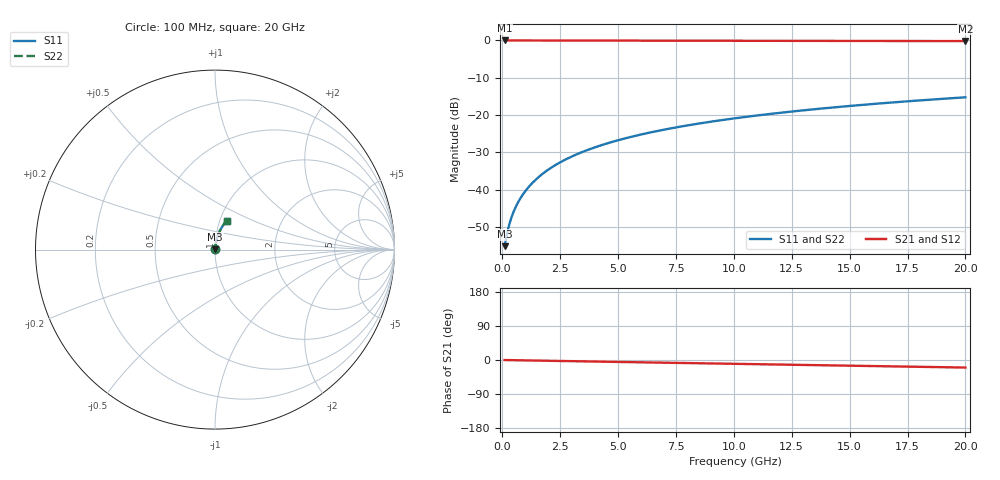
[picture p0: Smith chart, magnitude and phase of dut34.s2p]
! Touchstone file exported from HFSS 2026.1.0
!  File:  C:/ffzhzh/LocalFiles/Ansys_Project_Files/temp_train_BSMRDL_34_1782882269_13352.aedt
!  Generated:  01:05:41 PM Jul  1, 2026
!  Design:  BSMRDL
!  Project:  temp_train_BSMRDL_34_1782882269_13352
! Variables:
!  h_bsmrdl = 3.17um
!  h_ox = 20um
!  h_rdl = 5um
!  h_sub = 80um
!  h_tmrdl = 5um
!  h_tsv = 80um
!  h_via = 3um
!  l_bsmrdl = 270.15um
!  l_sub = 670.15um
!  l_tmrdl = 200um
!  m_sub = 200um
!  pitch = 47.93um
!  r_tsv = 6um
!  s_tmrdl = 10um
!  w_bsmrdl = 26.98um
!  w_sub = 500um
!  w_tmrdl = 12um
!  x_tsv_center1 = 206um
!  x_tsv_center2 = 503.13um
!  x_tsv_center3 = 715.13um
!  x_tsv_center4 = 1012.26um
!  x_tsv_center5 = 1224.26um
!  x_tsv_center6 = 1521.39um
# GHz S MA R 50.000000
! Terminal data exported
! Port[1] = BSM_RDL1_1_T1
! Port[2] = BSM_RDL1_1_T2
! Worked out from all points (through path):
!   200 points, 100 MHz to 20 GHz, reference 50 ohm
!   highest |S21| = -0.01 dB at 100 MHz (marker M1); lowest = -0.2 dB at 20 GHz (marker M2)
!   group delay of S21, straight-line fit = 2.76 ps
!   lowest |S11| = -55.1 dB at 100 MHz (marker M3), VSWR 1.00, Z = 50.1 + j0.106 ohm
!   |S11| at or under -10 dB: start of sweep to end of sweep
!   |S22| runs from -55.1 to -15.2 dB; largest |S21 - S12| = 3.5e-15
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0.1  0.001752 36.9  0.9986 -0.1  0.9986 -0.1  0.001752 36.9
! Gamma 0 0 0 0
! Port Impedance 50 0 50 0
0.2  0.002543 54.2  0.9985 -0.2  0.9985 -0.2  0.002543 54.2
0.3  0.003416 62.4  0.9984 -0.3  0.9984 -0.3  0.003416 62.4
0.4  0.004296 67.1  0.9983 -0.4  0.9983 -0.4  0.004296 67.1
0.5  0.005175 70.3  0.9983 -0.5  0.9983 -0.5  0.005175 70.3
0.6  0.006056 72.6  0.9982 -0.6  0.9982 -0.6  0.006056 72.6
0.8  0.007828 75.8  0.9982 -0.8  0.9982 -0.8  0.007828 75.8
1.1  0.01052 78.6  0.9981 -1.1  0.9981 -1.1  0.01052 78.6
1.3  0.01233 79.8  0.998 -1.3  0.998 -1.3  0.01233 79.8
1.6  0.01505 80.9  0.9979 -1.6  0.9979 -1.6  0.01505 80.9
2.1  0.01961 81.9  0.9978 -2.2  0.9978 -2.2  0.01961 81.9
2.7  0.0251 82.4  0.9976 -2.8  0.9976 -2.8  0.0251 82.4
3.5  0.03239 82.4  0.9972 -3.6  0.9972 -3.6  0.03239 82.4
4.2  0.03875 82.1  0.9968 -4.3  0.9968 -4.3  0.03875 82.1
5  0.04598 81.6  0.9963 -5.1  0.9963 -5.1  0.04598 81.6
5.9  0.05406 80.9  0.9957 -6.0  0.9957 -6.0  0.05406 80.9
6.8  0.06208 80.2  0.995 -6.9  0.995 -6.9  0.06208 80.2
8.3  0.0753 78.9  0.9936 -8.4  0.9936 -8.4  0.0753 78.9
10.1  0.09095 77.3  0.9919 -10.2  0.9919 -10.2  0.09095 77.3
13.4  0.119 74.2  0.9882 -13.5  0.9882 -13.5  0.119 74.3
16.7  0.1464 71.2  0.9839 -16.7  0.9839 -16.7  0.1464 71.2
20  0.1729 68.2  0.9791 -19.9  0.9791 -19.9  0.1729 68.2
